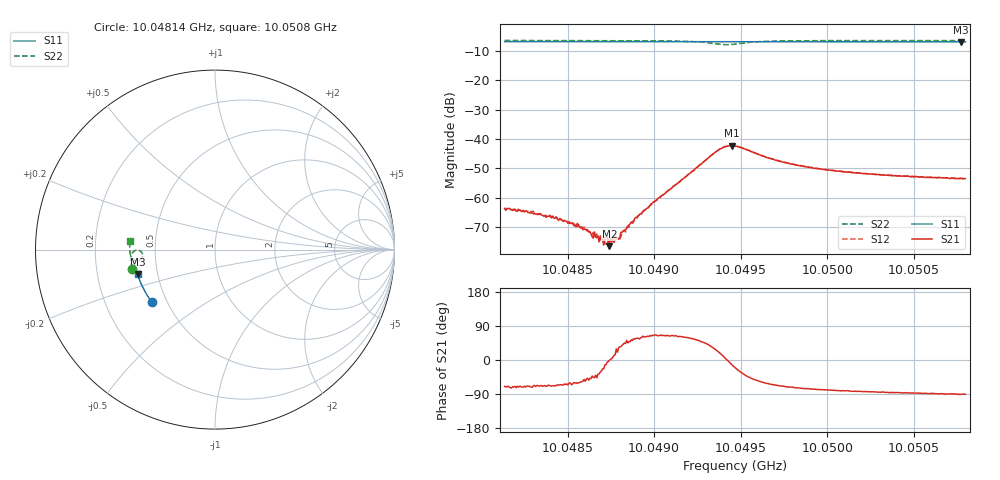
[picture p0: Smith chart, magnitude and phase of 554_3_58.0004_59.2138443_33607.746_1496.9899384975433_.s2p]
#  HZ  S  RI  R  50.00
! Rohde & Schwarz Vector Network Analyzer
! Rohde-Schwarz,ZNB20-2Port,1311601062101988,3.16
! Created: UTC 3/21/2024, 1:15:08 AM
! freq[Hz]  re:S11  im:S11  re:S21  im:S21  re:S12  im:S12  re:S22  im:S22
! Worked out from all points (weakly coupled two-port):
!   401 points, 10.04814 GHz to 10.0508 GHz, reference 50 ohm
!   highest |S21| = -42.29 dB at 10.04945 GHz (marker M1); lowest = -76.6 dB at 10.04874 GHz (marker M2)
!   lowest |S11| = -6.9 dB at 10.05077 GHz (marker M3), VSWR 2.65, Z = 19.2 - j6.65 ohm
!   |S11| at or under -10 dB: nowhere
!   |S22| runs from -7.9 to -6.4 dB; largest |S21 - S12| = 0.00058
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1.0048137e10  -0.3528 -0.2903  0.000223 -0.000605  0.000258 -0.000624  -0.4649 -0.1099
1.004823e10  -0.3564 -0.2855  0.000208 -0.00057  0.000248 -0.000537  -0.4661 -0.1033
1.0048416e10  -0.3636 -0.2755  0.000179 -0.000448  0.000211 -0.000431  -0.4683 -0.0899
1.0048529e10  -0.3679 -0.2693  0.00016 -0.00032  0.000198 -0.000312  -0.4693 -0.0817
1.0048569e10  -0.3694 -0.2671  0.000162 -0.000279  0.000167 -0.000245  -0.4696 -0.0787
1.0048582e10  -0.3698 -0.2665  0.000172 -0.000265  0.000151 -0.000267  -0.4698 -0.0777
1.0048696e10  -0.3742 -0.2602  0.000169 -9.36e-05  0.000185 -6.25e-05  -0.4704 -0.0687
1.0048729e10  -0.3753 -0.2585  0.000209 -2.15e-05  0.000162 -2.58e-05  -0.4707 -0.0659
1.0048742e10  -0.3757 -0.2578  0.000148 -2.59e-06  0.000148 2.23e-05  -0.4706 -0.065
1.0048782e10  -0.3772 -0.2555  0.000171 9.54e-05  0.000189 9.51e-05  -0.4709 -0.0616
1.0048802e10  -0.3779 -0.2544  0.000172 0.000118  0.000172 9.21e-05  -0.4708 -0.0599
1.0048902e10  -0.3813 -0.2489  0.000246 0.000389  0.000177 0.000413  -0.4705 -0.0509
1.0049028e10  -0.3856 -0.2416  0.000423 0.000899  0.000349 0.00093  -0.4688 -0.038
1.0049347e10  -0.3953 -0.223  0.00497 0.00289  0.00479 0.00322  -0.4236 -0.00452
1.0049401e10  -0.3968 -0.22  0.00707 0.00122  0.00703 0.00163  -0.4057 -0.0205
1.0049447e10  -0.398 -0.2175  0.00752 -0.00157  0.00763 -0.00103  -0.4053 -0.044
1.0049467e10  -0.3986 -0.2165  0.0071 -0.00258  0.00729 -0.00213  -0.4104 -0.0525
1.0049707e10  -0.406 -0.2027  0.0017 -0.00392  0.00195 -0.00387  -0.4651 -0.0426
1.0049913e10  -0.4118 -0.1903  0.000749 -0.00311  0.000937 -0.00312  -0.4729 -0.0199
1.0050358e10  -0.4225 -0.1631  0.000169 -0.00237  0.000309 -0.00238  -0.4755 0.0172
1.0050771e10  -0.4309 -0.1375  -2.49e-05 -0.00212  0.000107 -0.00211  -0.4735 0.0469
1.0050797e10  -0.4314 -0.1359  -2.77e-05 -0.0021  0.000115 -0.0021  -0.4734 0.0484
